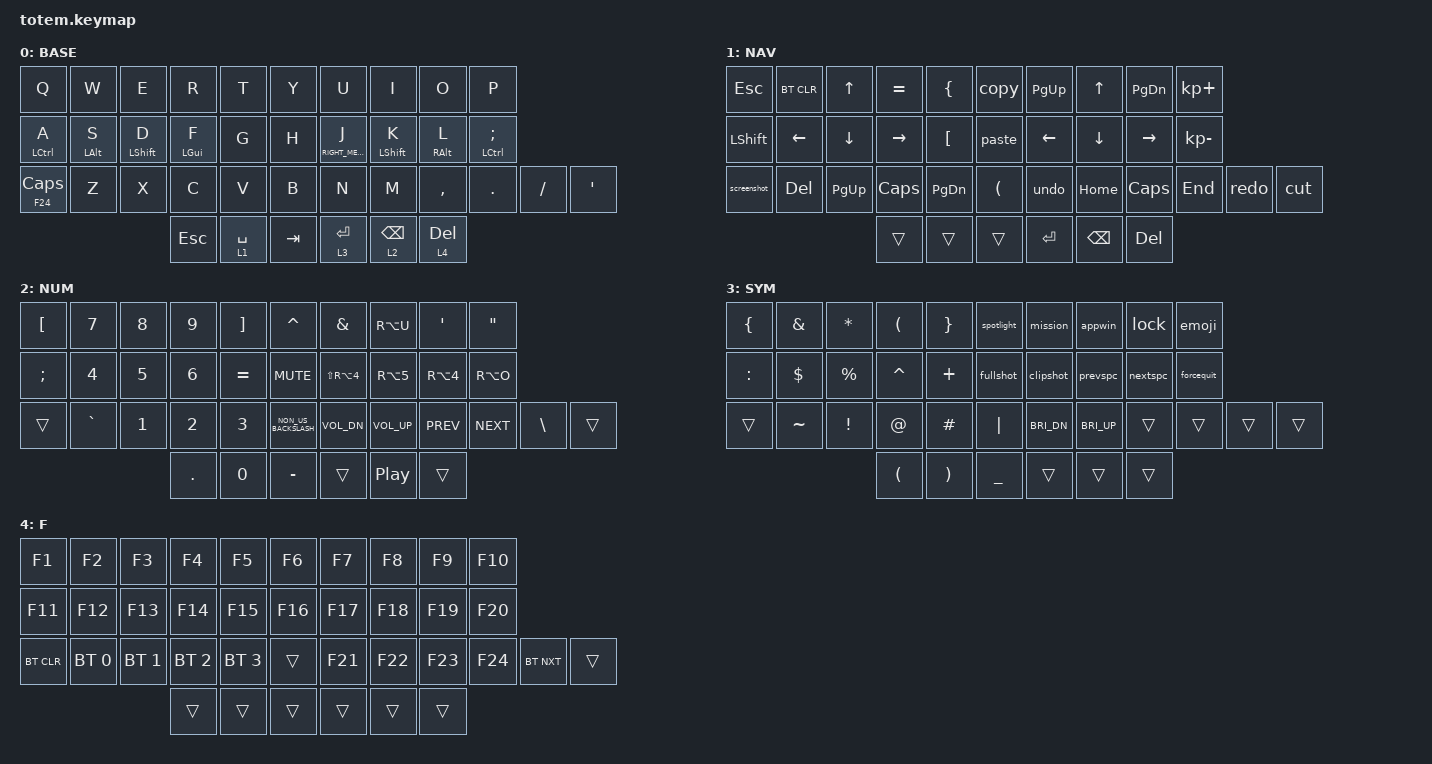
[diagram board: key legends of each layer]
#include <behaviors.dtsi>
#include <dt-bindings/zmk/bt.h>
#include <dt-bindings/zmk/keys.h>
#include <dt-bindings/zmk/outputs.h>

#define BASE 0
#define NAV  1
#define NUM  2
#define SYM  3
#define FN   4  /* was "F" — but F is the letter-F key code; shadowing it made home-row F type "a" (key code 4) */

&mt {
    quick-tap-ms = <100>;
    global-quick-tap;
    flavor = "tap-preferred";
    tapping-term-ms = <255>;
};

/ {
    combos {
        compatible = "zmk,combos";

        combo_esc {
            timeout-ms = <50>;
            key-positions = <0 1>;
            bindings = <&kp ESC>;
        };
    };

    macros {
        copy: copy {
            label = "COPY";
            compatible = "zmk,behavior-macro";
            #binding-cells = <0>;
            bindings =
                <&macro_press>,
                <&kp LEFT_GUI>,
                <&macro_tap>,
                <&kp C>,
                <&macro_release>,
                <&kp LEFT_GUI>;
        };

        paste: paste {
            label = "PASTE";
            compatible = "zmk,behavior-macro";
            #binding-cells = <0>;
            bindings =
                <&macro_press>,
                <&kp LEFT_GUI>,
                <&macro_tap>,
                <&kp V>,
                <&macro_release>,
                <&kp LEFT_GUI>;
        };

        cut: cut {
            label = "CUT";
            compatible = "zmk,behavior-macro";
            #binding-cells = <0>;
            bindings =
                <&macro_press>,
                <&kp LEFT_GUI>,
                <&macro_tap>,
                <&kp X>,
                <&macro_release>,
                <&kp LEFT_GUI>;
        };

        undo: undo {
            label = "UNDO";
            compatible = "zmk,behavior-macro";
            #binding-cells = <0>;
            bindings =
                <&macro_press>,
                <&kp LEFT_GUI>,
                <&macro_tap>,
                <&kp Z>,
                <&macro_release>,
                <&kp LEFT_GUI>;
        };

        redo: redo {
            label = "REDO";
            compatible = "zmk,behavior-macro";
            #binding-cells = <0>;
            bindings =
                <&macro_press>,
                <&kp LEFT_GUI>,
                <&kp LSHFT>,
                <&macro_tap>,
                <&kp Z>,
                <&macro_release>,
                <&kp LSHFT>,
                <&kp LEFT_GUI>;
        };

        screenshot: screenshot {
            label = "SCREENSHOT";
            compatible = "zmk,behavior-macro";
            #binding-cells = <0>;
            bindings =
                <&macro_press>,
                <&kp LEFT_GUI>,
                <&kp LSHFT>,
                <&macro_tap>,
                <&kp N4>,
                <&macro_release>,
                <&kp LSHFT>,
                <&kp LEFT_GUI>;
        };

        spotlight: spotlight {
            label = "SPOTLIGHT";
            compatible = "zmk,behavior-macro";
            #binding-cells = <0>;
            bindings =
                <&macro_press>,
                <&kp LEFT_GUI>,
                <&macro_tap>,
                <&kp SPACE>,
                <&macro_release>,
                <&kp LEFT_GUI>;
        };

        mission: mission {
            label = "MISSION";
            compatible = "zmk,behavior-macro";
            #binding-cells = <0>;
            bindings =
                <&macro_press>,
                <&kp LCTRL>,
                <&macro_tap>,
                <&kp UP>,
                <&macro_release>,
                <&kp LCTRL>;
        };

        appwin: appwin {
            label = "APPWIN";
            compatible = "zmk,behavior-macro";
            #binding-cells = <0>;
            bindings =
                <&macro_press>,
                <&kp LCTRL>,
                <&macro_tap>,
                <&kp DOWN>,
                <&macro_release>,
                <&kp LCTRL>;
        };

        lock: lock {
            label = "LOCK";
            compatible = "zmk,behavior-macro";
            #binding-cells = <0>;
            bindings =
                <&macro_press>,
                <&kp LEFT_GUI>,
                <&kp LCTRL>,
                <&macro_tap>,
                <&kp Q>,
                <&macro_release>,
                <&kp LCTRL>,
                <&kp LEFT_GUI>;
        };

        emoji: emoji {
            label = "EMOJI";
            compatible = "zmk,behavior-macro";
            #binding-cells = <0>;
            bindings =
                <&macro_press>,
                <&kp LCTRL>,
                <&kp LEFT_GUI>,
                <&macro_tap>,
                <&kp SPACE>,
                <&macro_release>,
                <&kp LEFT_GUI>,
                <&kp LCTRL>;
        };

        fullshot: fullshot {
            label = "FULLSHOT";
            compatible = "zmk,behavior-macro";
            #binding-cells = <0>;
            bindings =
                <&macro_press>,
                <&kp LEFT_GUI>,
                <&kp LSHFT>,
                <&macro_tap>,
                <&kp N3>,
                <&macro_release>,
                <&kp LSHFT>,
                <&kp LEFT_GUI>;
        };

        clipshot: clipshot {
            label = "CLIPSHOT";
            compatible = "zmk,behavior-macro";
            #binding-cells = <0>;
            bindings =
                <&macro_press>,
                <&kp LEFT_GUI>,
                <&kp LCTRL>,
                <&kp LSHFT>,
                <&macro_tap>,
                <&kp N4>,
                <&macro_release>,
                <&kp LSHFT>,
                <&kp LCTRL>,
                <&kp LEFT_GUI>;
        };

        prevspc: prevspc {
            label = "PREVSPC";
            compatible = "zmk,behavior-macro";
            #binding-cells = <0>;
            bindings =
                <&macro_press>,
                <&kp LCTRL>,
                <&macro_tap>,
                <&kp LEFT>,
                <&macro_release>,
                <&kp LCTRL>;
        };

        nextspc: nextspc {
            label = "NEXTSPC";
            compatible = "zmk,behavior-macro";
            #binding-cells = <0>;
            bindings =
                <&macro_press>,
                <&kp LCTRL>,
                <&macro_tap>,
                <&kp RIGHT>,
                <&macro_release>,
                <&kp LCTRL>;
        };

        forcequit: forcequit {
            label = "FORCEQUIT";
            compatible = "zmk,behavior-macro";
            #binding-cells = <0>;
            bindings =
                <&macro_press>,
                <&kp LEFT_GUI>,
                <&kp LALT>,
                <&macro_tap>,
                <&kp ESC>,
                <&macro_release>,
                <&kp LALT>,
                <&kp LEFT_GUI>;
        };
    };

    keymap {
        compatible = "zmk,keymap";

        base_layer {
            label = "BASE";

            bindings = <
                &kp Q        &kp W       &kp E             &kp R           &kp T        &kp Y        &kp U             &kp I             &kp O       &kp P
                &mt LCTRL A  &mt LALT S  &mt LEFT_SHIFT D  &mt LEFT_GUI F  &kp G        &kp H        &mt RIGHT_META J  &mt LEFT_SHIFT K  &mt RALT L  &mt LCTRL SEMICOLON
                &mt F24 CAPS  &kp Z       &kp X             &kp C           &kp V        &kp B        &kp N             &kp M             &kp COMMA   &kp DOT     &kp FSLH   &kp SQT
                                                     &kp ESCAPE   &lt 1 SPACE    &kp TAB    &lt 3 ENTER   &lt 2 BACKSPACE   &lt 4 DELETE
            >;
        };

        nav_layer {
            label = "NAV";

            bindings = <
                &kp ESC      &bt BT_CLR  &kp UP    &kp EQUAL  &kp LBRC    &copy         &kp PG_UP       &kp UP_ARROW    &kp PAGE_DOWN  &kp KP_PLUS
                &kp LSHFT    &kp LEFT    &kp DOWN  &kp RIGHT  &kp LBKT    &paste        &kp LEFT_ARROW  &kp DOWN_ARROW  &kp RIGHT      &kp KP_MINUS
                &screenshot  &kp DEL     &kp PG_UP &kp CAPS   &kp PG_DN   &kp LPAR      &undo          &kp HOME        &kp CAPS       &kp END       &redo    &cut
                                                     &trans      &trans      &trans     &kp ENTER     &kp BACKSPACE    &kp DEL
            >;
        };

        num_layer {
            label = "NUM";

            bindings = <
                &kp LEFT_BRACKET  &kp N7        &kp N8        &kp N9        &kp RIGHT_BRACKET   &kp CARET     &kp AMPS        &kp RA(U)   &kp SQT     &kp DQT
                &kp SEMICOLON     &kp NUMBER_4  &kp N5        &kp NUMBER_6  &kp EQUAL           &kp C_MUTE    &kp LS(RA(N4))  &kp RA(N5)  &kp RA(N4)  &kp RA(O)
                &trans            &kp GRAVE     &kp NUMBER_1  &kp NUMBER_2  &kp NUMBER_3        &kp NON_US_BACKSLASH  &kp C_VOL_DN  &kp C_VOL_UP  &kp C_PREV  &kp C_NEXT  &kp BSLH   &trans
                                                              &kp PERIOD    &kp N0        &kp MINUS           &trans        &kp C_PP        &trans
            >;
        };

        sym_layer {
            label = "SYM";

            bindings = <
                &kp LEFT_BRACE  &kp AMPERSAND  &kp ASTERISK  &kp LEFT_PARENTHESIS  &kp RIGHT_BRACE  &spotlight  &mission  &appwin  &lock  &emoji
                &kp COLON       &kp DOLLAR     &kp PERCENT   &kp CARET            &kp PLUS         &fullshot   &clipshot  &prevspc  &nextspc  &forcequit
                &trans          &kp TILDE      &kp EXCLAMATION  &kp AT_SIGN        &kp HASH         &kp PIPE  &kp C_BRI_DN  &kp C_BRI_UP  &trans  &trans  &trans  &trans
                                                              &kp LEFT_PARENTHESIS  &kp RIGHT_PARENTHESIS  &kp UNDERSCORE  &trans  &trans  &trans
            >;
        };

        func_layer {
            label = "F";

            bindings = <
                &kp F1   &kp F2   &kp F3   &kp F4   &kp F5    &kp F6   &kp F7   &kp F8   &kp F9   &kp F10
                &kp F11  &kp F12  &kp F13  &kp F14  &kp F15   &kp F16  &kp F17  &kp F18  &kp F19  &kp F20
                &bt BT_CLR  &bt BT_SEL 0  &bt BT_SEL 1  &bt BT_SEL 2  &bt BT_SEL 3    &trans   &kp F21  &kp F22  &kp F23  &kp F24  &bt BT_NXT  &trans
                                                     &trans    &trans   &trans    &trans   &trans    &trans
            >;
        };
    };
};
